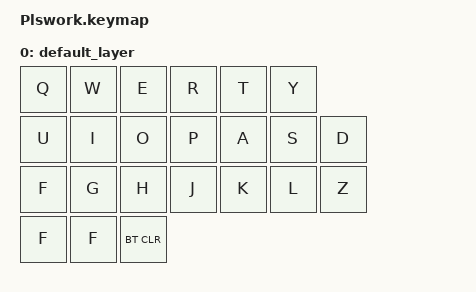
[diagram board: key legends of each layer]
#include <behaviors.dtsi>
#include <dt-bindings/zmk/keys.h>
#include <dt-bindings/zmk/bt.h>

/ {
    keymap {
        compatible = "zmk,keymap";

        default_layer {
            bindings = <
                
                &kp Q &kp W &kp E &kp R &kp T &kp Y
                
                &kp U &kp I &kp O &kp P &kp A &kp S &kp D
                
                &kp F &kp G &kp H &kp J &kp K &kp L &kp Z
                
                &kp F &kp F &bt BT_CLR
            >;
        };
    };
};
